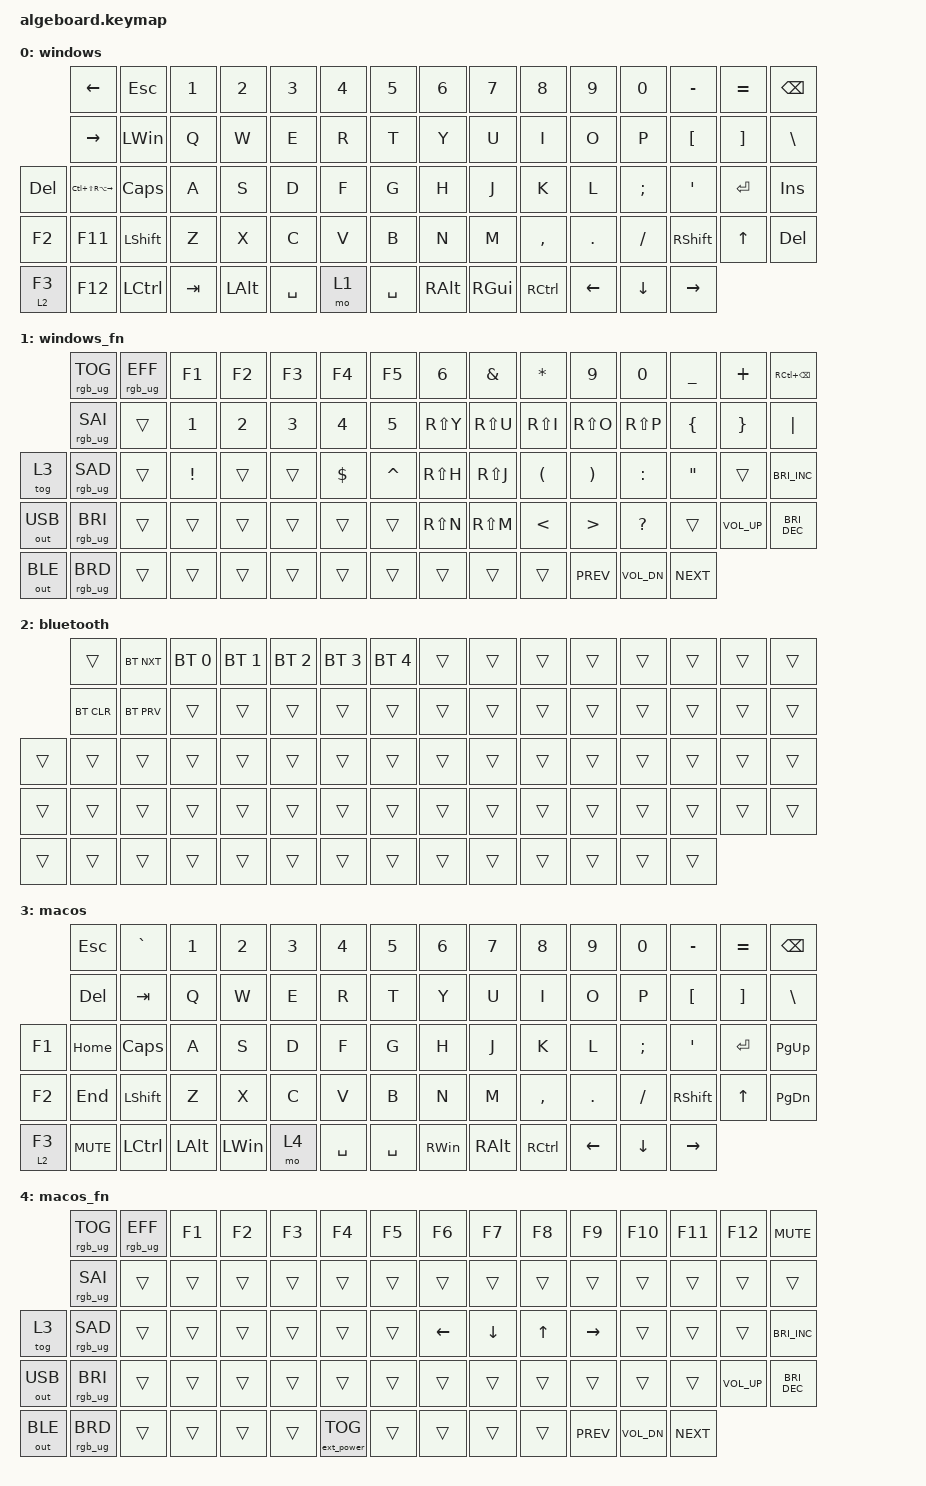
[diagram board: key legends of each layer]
/*
 * Copyright (c) 2020 The ZMK Contributors
 *
 * SPDX-License-Identifier: MIT
 */

#include <behaviors.dtsi>
#include <dt-bindings/zmk/bt.h>
#include <dt-bindings/zmk/ext_power.h>
#include <dt-bindings/zmk/keys.h>
#include <dt-bindings/zmk/outputs.h>
#include <dt-bindings/zmk/rgb.h>

/ {
    keymap {
        compatible = "zmk,keymap";

        windows {
            bindings = <
          &kp LEFT_ARROW         &kp ESCAPE    &kp N1   &kp N2    &kp N3     &kp N4  &kp N5     &kp N6    &kp N7    &kp N8     &kp N9    &kp N0     &kp MINUS   &kp EQUAL  &kp BACKSPACE
          &kp RIGHT              &kp LWIN      &kp Q    &kp W     &kp E      &kp R   &kp T      &kp Y     &kp U     &kp I      &kp O     &kp P      &kp LBKT    &kp RBKT   &kp BACKSLASH
&kp DEL   &kp LC(LS(RA(RIGHT)))  &kp CAPSLOCK  &kp A    &kp S     &kp D      &kp F   &kp G      &kp H     &kp J     &kp K      &kp L     &kp SEMI   &kp SQT     &kp ENTER  &kp INS
&kp F2    &kp F11                &kp LSHIFT    &kp Z    &kp X     &kp C      &kp V   &kp B      &kp N     &kp M     &kp COMMA  &kp DOT   &kp SLASH  &kp RSHIFT  &kp UP     &kp DEL
&lt 2 F3  &kp F12                &kp LCTRL     &kp TAB  &kp LALT  &kp SPACE  &mo 1   &kp SPACE  &kp RALT  &kp RGUI  &kp RCTRL  &kp LEFT  &kp DOWN   &kp RIGHT
            >;
        };

        windows_fn {
            bindings = <
              &rgb_ug RGB_TOG  &rgb_ug RGB_EFF  &kp F1        &kp F2        &kp F3        &kp F4        &kp F5        &kp NUMBER_6  &kp AMPS   &kp STAR              &kp N9                 &kp N0        &kp UNDERSCORE     &kp PLUS         &kp RC(BACKSPACE)
              &rgb_ug RGB_SAI  &trans           &kp NUMBER_1  &kp NUMBER_2  &kp NUMBER_3  &kp NUMBER_4  &kp NUMBER_5  &kp RS(Y)     &kp RS(U)  &kp RS(I)             &kp RS(O)              &kp RS(P)     &kp LEFT_BRACE     &kp RIGHT_BRACE  &kp PIPE
&tog 3        &rgb_ug RGB_SAD  &trans           &kp EXCL      &trans        &trans        &kp DOLLAR    &kp CARET     &kp RS(H)     &kp RS(J)  &kp LEFT_PARENTHESIS  &kp RIGHT_PARENTHESIS  &kp COLON     &kp DOUBLE_QUOTES  &trans           &kp C_BRI_INC
&out OUT_USB  &rgb_ug RGB_BRI  &trans           &trans        &trans        &trans        &trans        &trans        &kp RS(N)     &kp RS(M)  &kp LESS_THAN         &kp GREATER_THAN       &kp QUESTION  &trans             &kp C_VOL_UP     &kp C_BRI_DEC
&out OUT_BLE  &rgb_ug RGB_BRD  &trans           &trans        &trans        &trans        &trans        &trans        &trans        &trans     &trans                &kp C_PREV             &kp C_VOL_DN  &kp C_NEXT
            >;
        };

        bluetooth {
            bindings = <
        &trans      &bt BT_NXT  &bt BT_SEL 0  &bt BT_SEL 1  &bt BT_SEL 2  &bt BT_SEL 3  &bt BT_SEL 4  &trans  &trans  &trans  &trans  &trans  &trans  &trans  &trans
        &bt BT_CLR  &bt BT_PRV  &trans        &trans        &trans        &trans        &trans        &trans  &trans  &trans  &trans  &trans  &trans  &trans  &trans
&trans  &trans      &trans      &trans        &trans        &trans        &trans        &trans        &trans  &trans  &trans  &trans  &trans  &trans  &trans  &trans
&trans  &trans      &trans      &trans        &trans        &trans        &trans        &trans        &trans  &trans  &trans  &trans  &trans  &trans  &trans  &trans
&trans  &trans      &trans      &trans        &trans        &trans        &trans        &trans        &trans  &trans  &trans  &trans  &trans  &trans
            >;
        };

        macos {
            bindings = <
          &kp ESC     &kp GRAVE     &kp N1    &kp N2    &kp N3  &kp N4     &kp N5     &kp N6    &kp N7    &kp N8     &kp N9    &kp N0     &kp MINUS   &kp EQUAL  &kp BACKSPACE
          &kp DEL     &kp TAB       &kp Q     &kp W     &kp E   &kp R      &kp T      &kp Y     &kp U     &kp I      &kp O     &kp P      &kp LBKT    &kp RBKT   &kp BACKSLASH
&kp F1    &kp HOME    &kp CAPSLOCK  &kp A     &kp S     &kp D   &kp F      &kp G      &kp H     &kp J     &kp K      &kp L     &kp SEMI   &kp SQT     &kp ENTER  &kp PG_UP
&kp F2    &kp END     &kp LSHIFT    &kp Z     &kp X     &kp C   &kp V      &kp B      &kp N     &kp M     &kp COMMA  &kp DOT   &kp SLASH  &kp RSHIFT  &kp UP     &kp PG_DN
&lt 2 F3  &kp C_MUTE  &kp LCTRL     &kp LALT  &kp LWIN  &mo 4   &kp SPACE  &kp SPACE  &kp RWIN  &kp RALT  &kp RCTRL  &kp LEFT  &kp DOWN   &kp RIGHT
            >;
        };

        macos_fn {
            bindings = <
              &rgb_ug RGB_TOG  &rgb_ug RGB_EFF  &kp F1  &kp F2  &kp F3  &kp F4             &kp F5  &kp F6    &kp F7    &kp F8  &kp F9      &kp F10       &kp F11     &kp F12       &kp C_MUTE
              &rgb_ug RGB_SAI  &trans           &trans  &trans  &trans  &trans             &trans  &trans    &trans    &trans  &trans      &trans        &trans      &trans        &trans
&tog 3        &rgb_ug RGB_SAD  &trans           &trans  &trans  &trans  &trans             &trans  &kp LEFT  &kp DOWN  &kp UP  &kp RIGHT   &trans        &trans      &trans        &kp C_BRI_INC
&out OUT_USB  &rgb_ug RGB_BRI  &trans           &trans  &trans  &trans  &trans             &trans  &trans    &trans    &trans  &trans      &trans        &trans      &kp C_VOL_UP  &kp C_BRI_DEC
&out OUT_BLE  &rgb_ug RGB_BRD  &trans           &trans  &trans  &trans  &ext_power EP_TOG  &trans  &trans    &trans    &trans  &kp C_PREV  &kp C_VOL_DN  &kp C_NEXT
            >;
        };
    };
};
